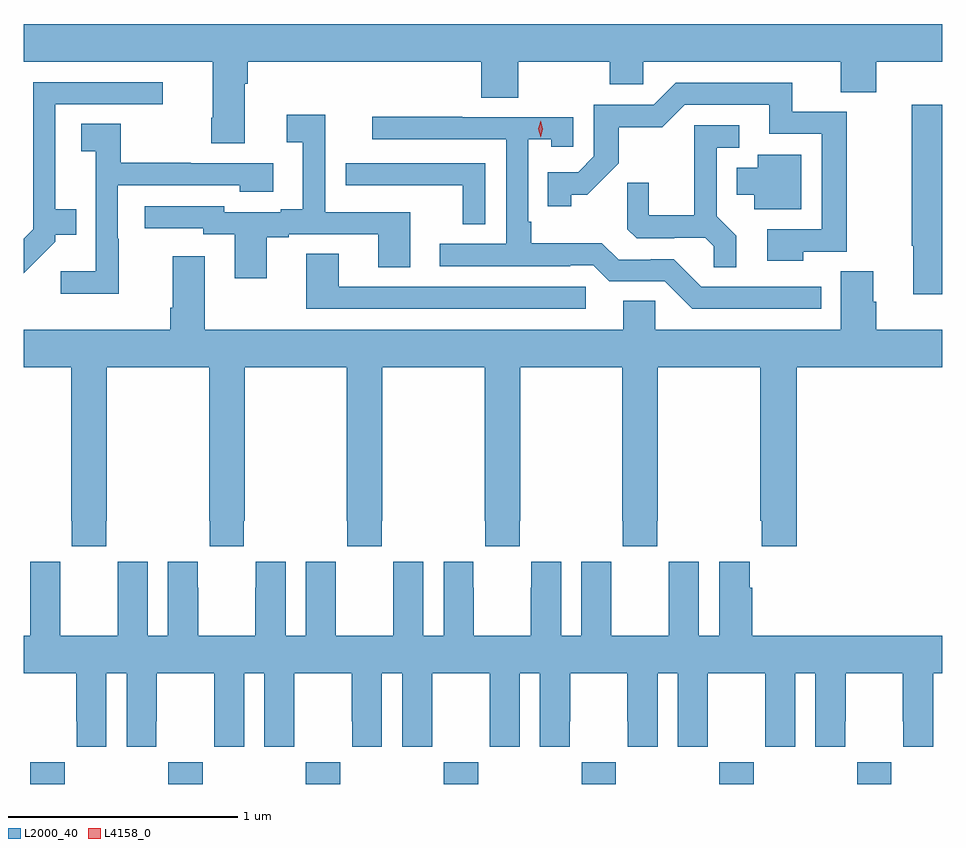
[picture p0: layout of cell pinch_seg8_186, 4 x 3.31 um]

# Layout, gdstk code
import gdstk
lib = gdstk.Library(unit=1e-6, precision=1e-09)
def R(c, l, rs):  # rectangles x0, y0, x1, y1
    for r in rs: c.add(gdstk.rectangle(r[:2], r[2:], *l))
def A(c, l, x, y, w, h, nx, ny, dx, dy):  # array of equal rectangles
    R(c, l, [(x+i*dx, y+j*dy, x+i*dx+w, y+j*dy+h) for i in range(nx) for j in range(ny)])
def P(c, l, *ps):  # polygons
    for p in ps: c.add(gdstk.Polygon(p, *l))
L2000_40 = (2000, 40)
L4158_0 = (4158, 0)

pinch_seg8_186 = lib.new_cell('pinch_seg8_186')
A(pinch_seg8_186, L2000_40, 660.117, 1154.646, 0.15, 0.094, 7, 1, 0.6, 0)
P(pinch_seg8_186, L2000_40, [(661.051,1157.696),(661.064,1157.696),(661.064,1157.792),(662.081,1157.792),(662.081,1157.635),(662.241,1157.635),(662.241,1157.792),(662.641,1157.792),(662.641,1157.694),(662.787,1157.694),(662.787,1157.792),(663.647,1157.792),(663.647,1157.659),(663.8,1157.659),(663.8,1157.792),(664.088,1157.792),(664.088,1157.956),(660.088,1157.956),(660.088,1157.792),(660.911,1157.792),(660.911,1157.548),(660.904,1157.548),(660.904,1157.436),(661.051,1157.436)],
  [(660.225,1157.007),(660.225,1157.039),(660.317,1157.039),(660.317,1157.149),(660.226,1157.149),(660.226,1157.607),(660.694,1157.607),(660.694,1157.703),(660.129,1157.703),(660.129,1157.061),(660.088,1157.02),(660.088,1156.87)],
  [(663.483,1156.965),(663.673,1156.965),(663.673,1157.574),(663.434,1157.574),(663.434,1157.7),(662.928,1157.7),(662.832,1157.604),(662.571,1157.604),(662.571,1157.379),(662.502,1157.31),(662.371,1157.31),(662.371,1157.163),(662.472,1157.163),(662.472,1157.213),(662.542,1157.213),(662.68,1157.35),(662.68,1157.506),(662.869,1157.506),(662.967,1157.604),(663.335,1157.604),(663.335,1157.478),(663.564,1157.478),(663.564,1157.061),(663.327,1157.061),(663.327,1156.925),(663.483,1156.925)],
  [(664.088,1157.605),(663.955,1157.605),(663.955,1156.991),(663.962,1156.991),(663.962,1156.779),(664.088,1156.779)],
  [(661.147,1157.028),(661.243,1157.028),(661.243,1157.04),(661.631,1157.04),(661.631,1156.897),(661.771,1156.897),(661.771,1157.136),(661.401,1157.136),(661.401,1157.56),(661.233,1157.56),(661.233,1157.44),(661.304,1157.44),(661.304,1157.149),(661.208,1157.149),(661.208,1157.136),(660.96,1157.136),(660.96,1157.163),(660.615,1157.163),(660.615,1157.067),(660.87,1157.067),(660.87,1157.04),(661.007,1157.04),(661.007,1156.848),(661.147,1156.848)],
  [(663.562,1156.812),(663.039,1156.812),(662.919,1156.932),(662.818,1156.932),(662.818,1156.929),(662.679,1156.929),(662.606,1157.002),(662.299,1157.002),(662.299,1157.095),(662.286,1157.095),(662.286,1157.453),(662.385,1157.453),(662.385,1157.421),(662.481,1157.421),(662.481,1157.55),(661.997,1157.55),(661.997,1157.553),(661.605,1157.553),(661.605,1157.454),(662.19,1157.454),(662.19,1156.998),(661.899,1156.998),(661.899,1156.902),(662.468,1156.902),(662.468,1156.905),(662.568,1156.905),(662.637,1156.836),(662.88,1156.836),(663,1156.716),(663.562,1156.716)],
  [(660.501,1157.021),(660.498,1157.021),(660.498,1157.253),(661.029,1157.253),(661.029,1157.225),(661.174,1157.225),(661.174,1157.349),(660.815,1157.349),(660.815,1157.352),(660.511,1157.352),(660.511,1157.522),(660.339,1157.522),(660.339,1157.401),(660.402,1157.401),(660.402,1156.879),(660.249,1156.879),(660.249,1156.781),(660.501,1156.781)],
  [(663.191,1157.033),(663.105,1157.119),(663.105,1157.418),(663.205,1157.418),(663.205,1157.514),(663.008,1157.514),(663.008,1157.122),(662.81,1157.122),(662.81,1157.265),(662.716,1157.265),(662.716,1157.063),(662.757,1157.022),(662.922,1157.022),(662.922,1157.025),(663.056,1157.025),(663.093,1156.988),(663.093,1156.897),(663.191,1156.897)],
  [(663.475,1157.386),(663.284,1157.386),(663.284,1157.329),(663.194,1157.329),(663.194,1157.213),(663.269,1157.213),(663.269,1157.15),(663.475,1157.15)],
  [(662.097,1157.349),(661.491,1157.349),(661.491,1157.254),(661.603,1157.254),(661.603,1157.253),(661.999,1157.253),(661.999,1157.083),(662.097,1157.083)],
  [(662.536,1156.812),(661.459,1156.812),(661.459,1156.955),(661.319,1156.955),(661.319,1156.716),(662.536,1156.716)],
  [(660.447,1155.793),(660.45,1155.793),(660.45,1156.46),(660.895,1156.46),(660.895,1155.793),(660.897,1155.793),(660.897,1155.681),(661.047,1155.681),(661.047,1155.793),(661.05,1155.793),(661.05,1156.46),(661.495,1156.46),(661.495,1155.793),(661.497,1155.793),(661.497,1155.681),(661.647,1155.681),(661.647,1155.793),(661.65,1155.793),(661.65,1156.46),(662.095,1156.46),(662.095,1155.793),(662.097,1155.793),(662.097,1155.681),(662.247,1155.681),(662.247,1155.793),(662.25,1155.793),(662.25,1156.46),(662.695,1156.46),(662.695,1155.793),(662.697,1155.793),(662.697,1155.681),(662.847,1155.681),(662.847,1155.793),(662.85,1155.793),(662.85,1156.46),(663.295,1156.46),(663.295,1155.793),(663.301,1155.793),(663.301,1155.681),(663.455,1155.681),(663.455,1156.46),(664.088,1156.46),(664.088,1156.624),(663.8,1156.624),(663.8,1156.746),(663.787,1156.746),(663.787,1156.88),(663.647,1156.88),(663.647,1156.624),(662.838,1156.624),(662.838,1156.751),(662.699,1156.751),(662.699,1156.624),(660.877,1156.624),(660.877,1156.945),(660.737,1156.945),(660.737,1156.72),(660.725,1156.72),(660.725,1156.624),(660.088,1156.624),(660.088,1156.46),(660.295,1156.46),(660.295,1155.793),(660.297,1155.793),(660.297,1155.681),(660.447,1155.681)],
  [(661.736,1154.808),(661.866,1154.808),(661.866,1154.92),(661.867,1154.92),(661.867,1155.128),(662.117,1155.128),(662.117,1154.92),(662.118,1154.92),(662.118,1154.808),(662.248,1154.808),(662.248,1155.128),(662.336,1155.128),(662.336,1154.808),(662.466,1154.808),(662.466,1154.92),(662.467,1154.92),(662.467,1155.128),(662.717,1155.128),(662.717,1154.92),(662.718,1154.92),(662.718,1154.808),(662.848,1154.808),(662.848,1155.128),(662.936,1155.128),(662.936,1154.808),(663.066,1154.808),(663.066,1154.92),(663.067,1154.92),(663.067,1155.128),(663.317,1155.128),(663.317,1154.92),(663.318,1154.92),(663.318,1154.808),(663.448,1154.808),(663.448,1155.128),(663.536,1155.128),(663.536,1154.808),(663.666,1154.808),(663.666,1154.92),(663.667,1154.92),(663.667,1155.128),(663.917,1155.128),(663.917,1154.92),(663.918,1154.92),(663.918,1154.808),(664.048,1154.808),(664.048,1155.128),(664.088,1155.128),(664.088,1155.292),(663.26,1155.292),(663.26,1155.5),(663.25,1155.5),(663.25,1155.613),(663.116,1155.613),(663.116,1155.292),(663.028,1155.292),(663.028,1155.613),(662.898,1155.613),(662.898,1155.5),(662.897,1155.5),(662.897,1155.292),(662.647,1155.292),(662.647,1155.5),(662.646,1155.5),(662.646,1155.613),(662.516,1155.613),(662.516,1155.292),(662.428,1155.292),(662.428,1155.613),(662.298,1155.613),(662.298,1155.5),(662.297,1155.5),(662.297,1155.292),(662.047,1155.292),(662.047,1155.5),(662.046,1155.5),(662.046,1155.613),(661.916,1155.613),(661.916,1155.292),(661.828,1155.292),(661.828,1155.613),(661.698,1155.613),(661.698,1155.5),(661.697,1155.5),(661.697,1155.292),(661.447,1155.292),(661.447,1155.5),(661.446,1155.5),(661.446,1155.613),(661.316,1155.613),(661.316,1155.292),(661.228,1155.292),(661.228,1155.613),(661.098,1155.613),(661.098,1155.5),(661.097,1155.5),(661.097,1155.292),(660.847,1155.292),(660.847,1155.5),(660.846,1155.5),(660.846,1155.613),(660.716,1155.613),(660.716,1155.292),(660.628,1155.292),(660.628,1155.613),(660.498,1155.613),(660.498,1155.5),(660.497,1155.5),(660.497,1155.292),(660.247,1155.292),(660.247,1155.5),(660.246,1155.5),(660.246,1155.613),(660.116,1155.613),(660.116,1155.292),(660.088,1155.292),(660.088,1155.128),(660.317,1155.128),(660.317,1154.92),(660.318,1154.92),(660.318,1154.808),(660.448,1154.808),(660.448,1155.128),(660.536,1155.128),(660.536,1154.808),(660.666,1154.808),(660.666,1154.92),(660.667,1154.92),(660.667,1155.128),(660.917,1155.128),(660.917,1154.92),(660.918,1154.92),(660.918,1154.808),(661.048,1154.808),(661.048,1155.128),(661.136,1155.128),(661.136,1154.808),(661.266,1154.808),(661.266,1154.92),(661.267,1154.92),(661.267,1155.128),(661.517,1155.128),(661.517,1154.92),(661.518,1154.92),(661.518,1154.808),(661.648,1154.808),(661.648,1155.128),(661.736,1155.128)])
P(pinch_seg8_186, L4158_0, [(662.339,1157.463),(662.339,1157.463),(662.329,1157.499),(662.339,1157.535),(662.339,1157.535),(662.34,1157.535),(662.349,1157.499),(662.34,1157.463)])

lib.write_gds('pinch_seg8_186.gds')
